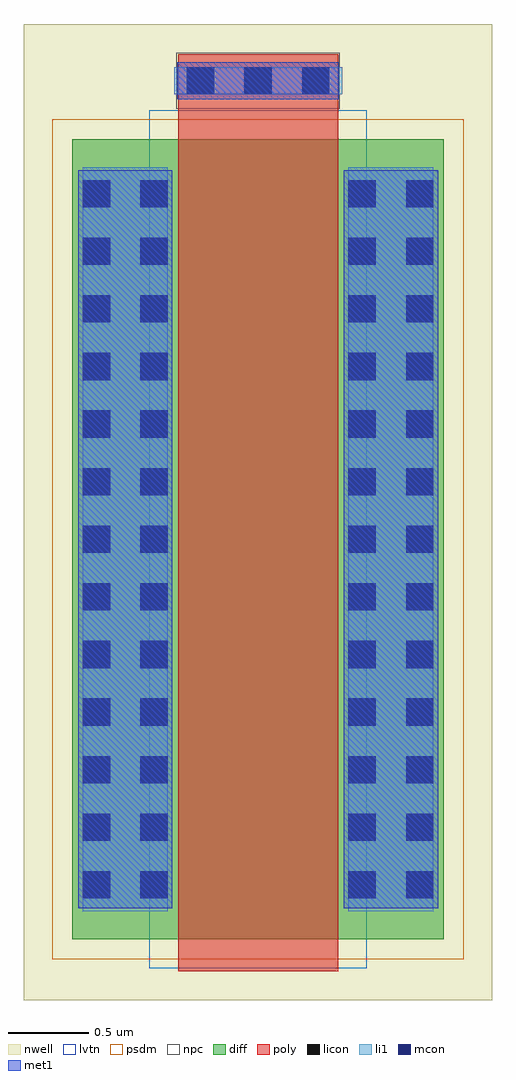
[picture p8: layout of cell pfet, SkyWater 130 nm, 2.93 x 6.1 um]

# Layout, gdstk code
import gdstk
lib = gdstk.Library(unit=1e-6, precision=5e-09)
def R(c, l, rs):  # rectangles x0, y0, x1, y1
    for r in rs: c.add(gdstk.rectangle(r[:2], r[2:], *l))
def A(c, l, x, y, w, h, nx, ny, dx, dy):  # array of equal rectangles
    R(c, l, [(x+i*dx, y+j*dy, x+i*dx+w, y+j*dy+h) for i in range(nx) for j in range(ny)])
nwell = (64, 20)
diff = (65, 20)
poly = (66, 20)
licon = (66, 44)
li1 = (67, 20)
mcon = (67, 44)
met1 = (68, 20)
psdm = (94, 20)
npc = (95, 20)
lvtn = (125, 44)

pfet = lib.new_cell('pfet')
R(pfet, nwell, [(-0.305,-0.38,2.625,5.72)])
R(pfet, diff, [(0,0,2.32,5)])
R(pfet, poly, [(0.66,-0.2,1.66,5.2), (0.66,5.2,1.66,5.53)])
A(pfet, licon, 0.065, 0.255, 0.17, 0.17, 1, 13, 0, 0.36)
A(pfet, licon, 0.425, 0.255, 0.17, 0.17, 1, 13, 0, 0.36)
A(pfet, licon, 1.725, 0.255, 0.17, 0.17, 1, 13, 0, 0.36)
A(pfet, licon, 2.085, 0.255, 0.17, 0.17, 1, 13, 0, 0.36)
A(pfet, licon, 0.715, 5.28, 0.17, 0.17, 3, 1, 0.36, 0)
R(pfet, li1, [(0.065,0.175,0.595,4.825), (1.725,0.175,2.255,4.825), (0.635,5.28,1.685,5.45)])
A(pfet, mcon, 0.065, 0.255, 0.17, 0.17, 1, 13, 0, 0.36)
A(pfet, mcon, 0.425, 0.255, 0.17, 0.17, 1, 13, 0, 0.36)
A(pfet, mcon, 1.725, 0.255, 0.17, 0.17, 1, 13, 0, 0.36)
A(pfet, mcon, 2.085, 0.255, 0.17, 0.17, 1, 13, 0, 0.36)
A(pfet, mcon, 0.715, 5.28, 0.17, 0.17, 3, 1, 0.36, 0)
R(pfet, met1, [(0.035,0.195,0.625,4.805), (1.695,0.195,2.285,4.805), (0.655,5.25,1.665,5.48)])
R(pfet, psdm, [(-0.125,-0.125,2.445,5.125)])
R(pfet, npc, [(0.65,5.19,1.67,5.54)])
R(pfet, lvtn, [(0.48,-0.18,1.84,5.18)])

lib.write_gds('pfet.gds')
